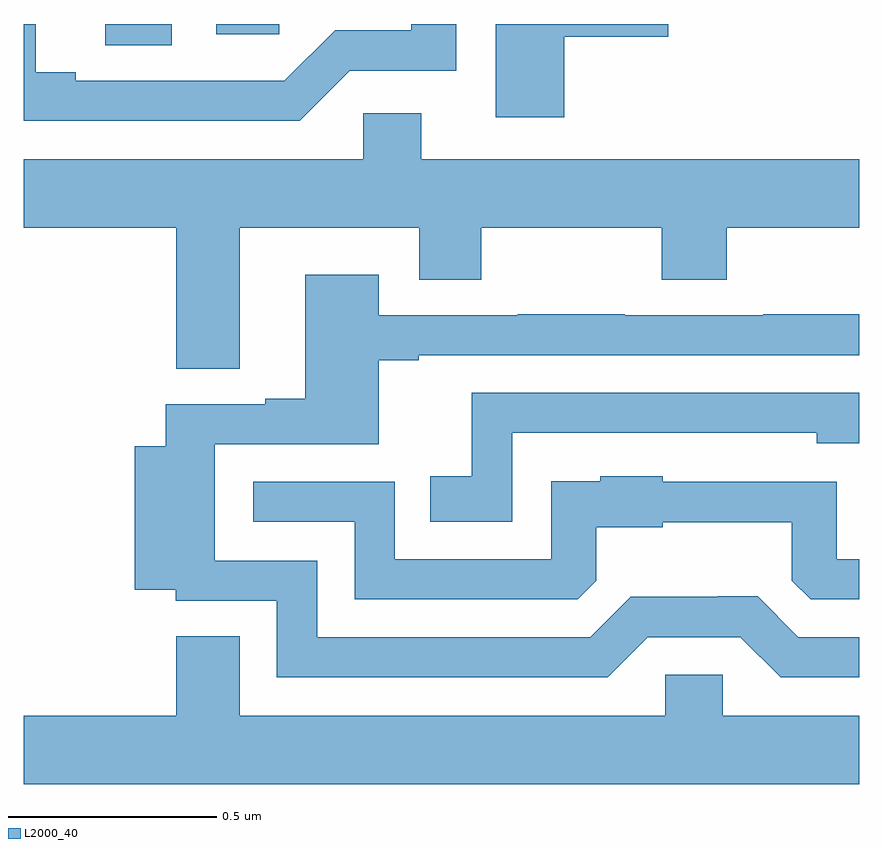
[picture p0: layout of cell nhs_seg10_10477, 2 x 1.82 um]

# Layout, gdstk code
import gdstk
lib = gdstk.Library(unit=1e-6, precision=1e-09)
def R(c, l, rs):  # rectangles x0, y0, x1, y1
    for r in rs: c.add(gdstk.rectangle(r[:2], r[2:], *l))
def P(c, l, *ps):  # polygons
    for p in ps: c.add(gdstk.Polygon(p, *l))
L2000_40 = (2000, 40)

nhs_seg10_10477 = lib.new_cell('nhs_seg10_10477')
R(nhs_seg10_10477, L2000_40, [(243.195,1271.449,243.354,1271.5), (243.461,1271.475,243.611,1271.5)])
P(nhs_seg10_10477, L2000_40, [(243.78,1271.388),(244.035,1271.388),(244.035,1271.5),(243.927,1271.5),(243.927,1271.485),(243.745,1271.485),(243.624,1271.364),(243.124,1271.364),(243.124,1271.384),(243.028,1271.384),(243.028,1271.5),(243,1271.5),(243,1271.268),(243.66,1271.268)],
  [(244.294,1271.47),(244.543,1271.47),(244.543,1271.5),(244.13,1271.5),(244.13,1271.277),(244.294,1271.277)],
  [(243.517,1271.012),(243.947,1271.012),(243.947,1270.888),(244.095,1270.888),(244.095,1271.012),(244.528,1271.012),(244.528,1270.888),(244.683,1270.888),(244.683,1271.012),(245,1271.012),(245,1271.176),(243.952,1271.176),(243.952,1271.286),(243.813,1271.286),(243.813,1271.176),(243,1271.176),(243,1271.012),(243.365,1271.012),(243.365,1270.675),(243.517,1270.675)],
  [(244.494,1270.032),(244.716,1270.032),(244.812,1269.936),(245,1269.936),(245,1270.032),(244.854,1270.032),(244.757,1270.13),(244.661,1270.13),(244.661,1270.129),(244.453,1270.129),(244.356,1270.032),(243.702,1270.032),(243.702,1270.215),(243.457,1270.215),(243.457,1270.494),(243.85,1270.494),(243.85,1270.695),(243.946,1270.695),(243.946,1270.707),(245,1270.707),(245,1270.805),(244.771,1270.805),(244.771,1270.803),(244.439,1270.803),(244.439,1270.805),(244.183,1270.805),(244.183,1270.803),(243.85,1270.803),(243.85,1270.9),(243.674,1270.9),(243.674,1270.603),(243.578,1270.603),(243.578,1270.59),(243.34,1270.59),(243.34,1270.489),(243.266,1270.489),(243.266,1270.145),(243.363,1270.145),(243.363,1270.119),(243.606,1270.119),(243.606,1269.936),(244.398,1269.936)],
  [(244.17,1270.521),(244.899,1270.521),(244.899,1270.496),(245,1270.496),(245,1270.617),(244.072,1270.617),(244.072,1270.417),(243.973,1270.417),(243.973,1270.308),(244.17,1270.308)],
  [(244.371,1270.167),(244.371,1270.295),(244.53,1270.295),(244.53,1270.307),(244.839,1270.307),(244.839,1270.167),(244.884,1270.122),(245,1270.122),(245,1270.218),(244.947,1270.218),(244.947,1270.404),(244.53,1270.404),(244.53,1270.417),(244.38,1270.417),(244.38,1270.405),(244.263,1270.405),(244.263,1270.218),(243.888,1270.218),(243.888,1270.404),(243.549,1270.404),(243.549,1270.308),(243.792,1270.308),(243.792,1270.122),(244.326,1270.122)],
  [(245,1269.844),(244.674,1269.844),(244.674,1269.942),(244.536,1269.942),(244.536,1269.844),(243.517,1269.844),(243.517,1270.034),(243.365,1270.034),(243.365,1269.844),(243,1269.844),(243,1269.68),(245,1269.68)])

lib.write_gds('nhs_seg10_10477.gds')
